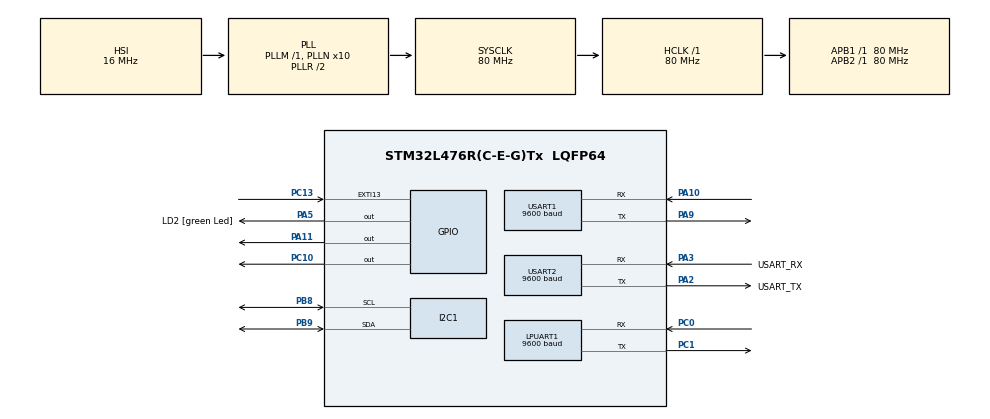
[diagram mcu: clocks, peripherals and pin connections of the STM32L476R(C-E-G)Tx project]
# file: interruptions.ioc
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I2C1.Timing=0x10D19CE4
LPTIM1.ClockPrescaler=LPTIM_PRESCALER_DIV32
LPUART1.BaudRate=9600
LPUART1.WordLength=UART_WORDLENGTH_8B
Mcu.Family=STM32L4
Mcu.Name=STM32L476R(C-E-G)Tx
Mcu.Package=LQFP64
NVIC.I2C1_ER_IRQn=true\:0\:0\:false\:false\:true\:true\:true\:true
NVIC.I2C1_EV_IRQn=true\:0\:0\:false\:false\:true\:true\:true\:true
NVIC.LPTIM1_IRQn=true\:0\:0\:false\:false\:true\:true\:true\:true
NVIC.LPUART1_IRQn=true\:0\:0\:false\:false\:true\:true\:true\:true
NVIC.PriorityGroup=NVIC_PRIORITYGROUP_4
NVIC.RTC_WKUP_IRQn=true\:0\:0\:false\:false\:true\:true\:true\:true
NVIC.USART1_IRQn=true\:0\:0\:false\:false\:true\:true\:true\:true
NVIC.USART2_IRQn=true\:0\:0\:false\:false\:true\:true\:true\:true
PA10.Mode=Asynchronous
PA10.Signal=USART1_RX
PA11.GPIO_PuPd=GPIO_NOPULL
PA11.PinState=GPIO_PIN_RESET
PA11.Signal=GPIO_Output
PA13\ (JTMS-SWDIO).GPIO_Label=TMS
PA13\ (JTMS-SWDIO).Mode=Serial_Wire
PA13\ (JTMS-SWDIO).Signal=SYS_JTMS-SWDIO
PA14\ (JTCK-SWCLK).GPIO_Label=TCK
PA14\ (JTCK-SWCLK).Mode=Serial_Wire
PA14\ (JTCK-SWCLK).Signal=SYS_JTCK-SWCLK
PA2.GPIO_Label=USART_TX
PA2.GPIO_Mode=GPIO_MODE_AF_PP
PA2.GPIO_PuPd=GPIO_NOPULL
PA2.GPIO_Speed=GPIO_SPEED_FREQ_VERY_HIGH
PA2.Mode=Asynchronous
PA2.Signal=USART2_TX
PA3.GPIO_Label=USART_RX
PA3.GPIO_Mode=GPIO_MODE_AF_PP
PA3.GPIO_PuPd=GPIO_NOPULL
PA3.GPIO_Speed=GPIO_SPEED_FREQ_VERY_HIGH
PA3.Mode=Asynchronous
PA3.Signal=USART2_RX
PA5.GPIO_Label=LD2 [green Led]
PA5.GPIO_ModeDefaultOutputPP=GPIO_MODE_OUTPUT_PP
PA5.GPIO_PuPd=GPIO_NOPULL
PA5.GPIO_Speed=GPIO_SPEED_FREQ_LOW
PA5.Signal=GPIO_Output
PA9.Mode=Asynchronous
PA9.Signal=USART1_TX
PB3\ (JTDO-TRACESWO).GPIO_Label=SWO
PB3\ (JTDO-TRACESWO).Signal=SYS_JTDO-SWO
PB8.GPIO_Pu=GPIO_PULLUP
PB8.Mode=I2C
PB8.Signal=I2C1_SCL
PB9.GPIO_Pu=GPIO_PULLUP
PB9.Mode=I2C
PB9.Signal=I2C1_SDA
PC0.Mode=Asynchronous
PC0.Signal=LPUART1_RX
PC1.Mode=Asynchronous
PC1.Signal=LPUART1_TX
PC10.PinState=GPIO_PIN_SET
PC10.Signal=GPIO_Output
PC13.Signal=GPXTI13
PC14-OSC32_IN\ (PC14).Mode=LSE-External-Oscillator
PC14-OSC32_IN\ (PC14).Signal=RCC_OSC32_IN
PC15-OSC32_OUT\ (PC15).Mode=LSE-External-Oscillator
PC15-OSC32_OUT\ (PC15).Signal=RCC_OSC32_OUT
PH0-OSC_IN\ (PH0).Signal=RCC_OSC_IN
PH1-OSC_OUT\ (PH1).Signal=RCC_OSC_OUT
ProjectManager.HeapSize=0x200
ProjectManager.StackSize=0x400
ProjectManager.TargetToolchain=CMake
RCC.ADCFreq_Value=64000000
RCC.AHBFreq_Value=80000000
RCC.APB1Freq_Value=80000000
RCC.APB1TimFreq_Value=80000000
RCC.APB2Freq_Value=80000000
RCC.APB2TimFreq_Value=80000000
RCC.CortexFreq_Value=80000000
RCC.HCLKFreq_Value=80000000
RCC.HSE_VALUE=8000000
RCC.HSI_VALUE=16000000
RCC.LPTIM1CLockSelection=RCC_LPTIM1CLKSOURCE_LSI
RCC.LPUART1CLockSelection=RCC_LPUART1CLKSOURCE_HSI
RCC.MSI_VALUE=4000000
RCC.PLLN=10
RCC.PLLSourceVirtual=RCC_PLLSOURCE_HSI
RCC.PREFETCH_ENABLE=1
RCC.RTCClockSelection=RCC_RTCCLKSOURCE_LSE
RCC.SYSCLKFreq_VALUE=80000000
RCC.SYSCLKSource=RCC_SYSCLKSOURCE_PLLCLK
RCC.USART2CLockSelection=RCC_USART2CLKSOURCE_HSI
RCC.USBFreq_Value=64000000
RCC.VCOOutputFreq_Value=160000000
RTC.WakeUpClock-WakeUp=RTC_WAKEUPCLOCK_CK_SPRE_16BITS
USART1.BaudRate=9600
USART1.VirtualMode-Asynchronous=VM_ASYNC
USART2.BaudRate=9600
USART2.VirtualMode-Asynchronous=VM_ASYNC
VP_LPTIM1_VS_LPTIM_counterModeInternalClock.Mode=Counts__internal_clock_event_00
VP_RTC_VS_RTC_Activate.Mode=RTC_Enabled
VP_RTC_VS_RTC_WakeUp_intern.Mode=WakeUp
board=NUCLEO-L476RG

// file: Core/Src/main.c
/* USER CODE BEGIN Header */
/**
  ******************************************************************************
  * @file           : main.c
  * @brief          : Main program body
  ******************************************************************************
  * @attention
  *
  * Copyright (c) 2026 STMicroelectronics.
  * All rights reserved.
  *
  * This software is licensed under terms that can be found in the LICENSE file
  * in the root directory of this software component.
  * If no LICENSE file comes with this software, it is provided AS-IS.
  *
  ******************************************************************************
  */
/* USER CODE END Header */
#include "main.h"

/* USER CODE BEGIN Includes */
#include <string.h>
#include <stdio.h>
#include <time.h>
/* USER CODE END Includes */

I2C_HandleTypeDef hi2c1;

LPTIM_HandleTypeDef hlptim1;

UART_HandleTypeDef hlpuart1;
UART_HandleTypeDef huart1;
UART_HandleTypeDef huart2;

RTC_HandleTypeDef hrtc;

void SystemClock_Config(void);
static void MX_GPIO_Init(void);
static void MX_USART2_UART_Init(void);
static void MX_USART1_UART_Init(void);
static void MX_LPUART1_UART_Init(void);
static void MX_LPTIM1_Init(void);
static void MX_I2C1_Init(void);
static void MX_RTC_Init(void);

/* USER CODE BEGIN 0 */
void log_step(char *msg)
{
    HAL_UART_Transmit(&huart2, (uint8_t*)msg, strlen(msg), 100);
    HAL_UART_Transmit(&huart2, (uint8_t*)"\r\n", 2, 100);
}

// clear all useless variables
#define WAKEUP_TIME_SECONDS  (2U * 60U)
volatile uint32_t tick = 0;
uint32_t rtt_min = UINT32_MAX, rtt_max = 0, rtt_sum = 0;
volatile uint32_t rtt;
int err_bits =0; // may be usefull for redunduncy (ex : activate hamming code if nb of err bits is 1 or 2)
volatile uint8_t can_sleep = 1;
char ack[] = "ACK\r\n";

uint8_t rx_pc[64];     // PC -> STM32
uint8_t rx_radio[12];   // HC-12 -> STM32
uint8_t pairing[1];    //  STM32 -> HC-12 (TX uniquement)
uint8_t frame[12];      // STM32 -> HC-12 (TX uniquement)
  char AT_phrase[] = "AT+P1";
char log_rtt[] = "ACK RECEIVED AND RTT =     \n";
volatile uint8_t woken_by_timer = 0;
volatile int wakeup_time = 0;
volatile uint32_t cnt = 0;
int32_t press_raw;
int32_t temp_raw;
typedef struct {
    uint16_t dig_T1;
    int16_t  dig_T2, dig_T3;
    uint16_t dig_P1;
    int16_t  dig_P2, dig_P3, dig_P4, dig_P5, dig_P6, dig_P7, dig_P8, dig_P9;
} BMP280_Calib;

BMP280_Calib calib;
int32_t t_fine;

uint8_t calib_buf[24];
volatile int gradient =0;
volatile uint8_t sequence = 0b000001;
volatile uint32_t count = 0;
int nb_bits_corr =0;
int nb_reveils = 0;
int nb_ack = 0;
int nb_retransmissions = 0;
int nb_transmissions =0;
int number_of_msg =0;
int pairing_mode =1;
int ack_flag = 0;
int energy = 0;
int neighbour_energy = 0;
const float power_level[] = {0.05,
                   0.057,
                   0.067,
                   0.08,
                   0.11,
                   0.15,
                   0.18,
                   0.33
                    };
int curr_power = 0;
const int THRESHOLD_50 = 12000;
const int THRESHOLD_75 = 24057;
const int THRESHOLD_90 = 32000;
 // below is receiver parity bits
      uint8_t pr1 ;
      uint8_t pr2 ;
      uint8_t pr4 ;
      uint8_t pr8 ;
      uint8_t curr_frame;
      uint8_t syndrome;
      uint8_t decoded_frame[6];
      volatile uint8_t result[6];

////// utiliser __builtin_popcount lorsque l'on voudra tester des envois prédéfinis

// DONT FORGET TO CHANGE THISDONT FORGET TO CHANGE THISDONT FORGET TO CHANGE THISDONT FORGET TO CHANGE THISDONT FORGET TO CHANGE THISDONT FORGET TO CHANGE THISDONT FORGET TO CHANGE THISDONT FORGET TO CHANGE THIS
const uint8_t node_addr = 0X02; // change accordingly to the address number of your node : DONT FORGET TO CHANGE THIS (server = 00)

// DONT FORGET TO CHANGE THISDONT FORGET TO CHANGE THISDONT FORGET TO CHANGE THISDONT FORGET TO CHANGE THISDONT FORGET TO CHANGE THISDONT FORGET TO CHANGE THISDONT FORGET TO CHANGE THISDONT FORGET TO CHANGE THIS

//DONT FORGET TO CHANGE THISDONT FORGET TO CHANGE THISDONT FORGET TO CHANGE THISDONT FORGET TO CHANGE THISDONT FORGET TO CHANGE THISDONT FORGET TO CHANGE THISDONT FORGET TO CHANGE THISDONT FORGET TO CHANGE THIS
const uint8_t dst_addr = 0X00; // change accordingly to the address number of the node to be reached : DONT FORGET TO CHANGE THIS (server = 00)
//DONT FORGET TO CHANGE THISDONT FORGET TO CHANGE THISDONT FORGET TO CHANGE THISDONT FORGET TO CHANGE THISDONT FORGET TO CHANGE THISDONT FORGET TO CHANGE THISDONT FORGET TO CHANGE THISDONT FORGET TO CHANGE THIS

// Retourne la température en centièmes de °C. Ex: 5123 = 51.23 °C
int32_t bmp280_compensate_T_int32(int32_t adc_T)
{
    int32_t var1, var2, T;

    var1 = ((((adc_T >> 3) - ((int32_t)calib.dig_T1 << 1))) * ((int32_t)calib.dig_T2)) >> 11;

    var2 = (((((adc_T >> 4) - ((int32_t)calib.dig_T1)) *
              ((adc_T >> 4) - ((int32_t)calib.dig_T1))) >> 12) *
            ((int32_t)calib.dig_T3)) >> 14;

    t_fine = var1 + var2;
    T = (t_fine * 5 + 128) >> 8;

    return T;
}

// Retourne la pression en Pa (entier non signé). Ex: 96386 = 963.86 hPa
// IMPORTANT : doit être appelée APRÈS bmp280_compensate_T_int32 (dépend de t_fine)

uint32_t bmp280_compensate_P_int32(int32_t adc_P)
{
    int32_t var1, var2;
    uint32_t p;

    var1 = (((int32_t)t_fine) >> 1) - (int32_t)64000;

    var2 = (((var1 >> 2) * (var1 >> 2)) >> 11) * ((int32_t)calib.dig_P6);
    var2 = var2 + ((var1 * ((int32_t)calib.dig_P5)) << 1);
    var2 = (var2 >> 2) + (((int32_t)calib.dig_P4) << 16);

    var1 = (((calib.dig_P3 * (((var1 >> 2) * (var1 >> 2)) >> 13)) >> 3) +
            ((((int32_t)calib.dig_P2) * var1) >> 1)) >> 18;
    var1 = (((32768 + var1)) * ((int32_t)calib.dig_P1)) >> 15;

    if (var1 == 0)
    {
        return 0; // évite une division par zéro
    }

    p = (((uint32_t)(((int32_t)1048576) - adc_P) - (var2 >> 12))) * 3125;

    if (p < 0x80000000)
    {
        p = (p << 1) / ((uint32_t)var1);
    }
    else
    {
        p = (p / (uint32_t)var1) * 2;
    }

    var1 = (((int32_t)calib.dig_P9) * ((int32_t)(((p >> 3) * (p >> 3)) >> 13))) >> 12;
    var2 = (((int32_t)(p >> 2)) * ((int32_t)calib.dig_P8)) >> 13;

    p = (uint32_t)((int32_t)p + ((var1 + var2 + calib.dig_P7) >> 4));

    return p;
}

uint8_t  decoded_hamming( uint8_t tab1, uint8_t tab2){

    return ((tab1 >> 2) & 1 ) | ((tab1 >> 4) & 1) << 1 | ((tab1 >> 5) & 1) << 2  | ((tab1 >> 6) & 1) << 3  | ((tab2 >> 2) & 1 ) << 4 | ((tab2 >> 4) & 1 )<< 5 | ((tab2 >> 5) & 1 ) << 6 | ((tab2 >> 6) & 1 ) << 7;

}
/// @brief ////////////////////
/// @param huart
/// @param Size
void HAL_UARTEx_RxEventCallback(UART_HandleTypeDef *huart, uint16_t Size){
           //int goodput_time = HAL_GetTick();
                        //count = HAL_LPTIM_ReadCounter(&hlptim1);

         uint32_t start = DWT->CYCCNT;

         //goodput_time = HAL_GetTick() - goodput_time;
        //uint32_t start = DWT->CYCCNT;

          if (huart->Instance == LPUART1)
    {
        wakeup_time = HAL_GetTick();

       //log_step("MSG RECEIVED :\n");
       // writing every byte in hexa
        for(int i=0;i<sizeof(rx_radio);i++){
            char buf[10];
            sprintf(buf, "%02X ", rx_radio[i]);
            //HAL_UART_Transmit(&huart2, (uint8_t*)buf, strlen(buf), 100);

        }
            // à partir d'ici, décoder le message et corriger les erreurs de transmission
            if(Size== 12){
              //log_step("Et après Correction des erreurs :\n");
               for(int i=0;i<sizeof(rx_radio);i++){
                curr_frame = rx_radio[i];

                pr1 = (curr_frame & 1) ^ ((curr_frame >> 2) & 1) ^ ((curr_frame >> 4) & 1) ^ ((curr_frame >> 6) & 1); // p1,d1,d2,d4
                pr2 = ((curr_frame >> 1) & 1) ^ ((curr_frame >> 2) & 1) ^ ((curr_frame >> 5) & 1) ^ ((curr_frame >> 6) & 1); // p2,d1,d3,d4
                pr4 = ((curr_frame >> 3) & 1) ^ ((curr_frame >> 4) & 1) ^ ((curr_frame >> 5) & 1) ^ ((curr_frame >> 6) & 1); // p4,d2,d3,d4
                //pr8 = pr1 ^ pr2 ^ (curr_frame & 1)  ; // p1 ^ p2 ^ d1 ^  ((p4 ^ d2 ^ d3 ^ d4) =0)
                pr8 = 0;
                for (int b = 0; b < 8; b++) pr8 ^= (curr_frame >> b) & 1;
                syndrome = pr1 | pr2 << 1 | pr4 << 2 ;
                if( syndrome != 0 && pr8 == 1){ // one error only
                  curr_frame ^= (1 << (syndrome-1)); // inversion du bit erroné
                  rx_radio[i] = curr_frame;
                  nb_bits_corr++;
                  char log[64];
                  sprintf(log," Erreurs détectées jusqu'à maintenant %d" ,nb_bits_corr);
                  //log_step(log);
                }
                else if(pr8 == 0 && syndrome != 0 ){ // at least 2 errors so we request a resend/ do nothing until we receive a good msg
                     //log_step("error, we should not forward the data received\n");
                     can_sleep =1;
                }

                // else if (syndrome == 0 && pr8 == 1)  error on pr8 so we don't care

                                //decoded_frame[i%6] = (i<6)? decoded_hamming(rx_radio[2*i],rx_radio[2*i+1]) : decoded_frame[i%6];
                                decoded_frame[i%6] = (i>=6)? decoded_hamming(rx_radio[2*(i-6)],rx_radio[2*(i-6)+1]) : decoded_frame[i%6];

               }
              for(int i=0;i<sizeof(decoded_frame);i++){
                  char buf[10];
                  sprintf(buf, "%02X ", decoded_frame[i]);
                  //HAL_UART_Transmit(&huart2, (uint8_t*)buf, strlen(buf), 100);

              }

            }

        if (strncmp((char*)rx_radio, "AT", 2) == 0 ||
            strncmp((char*)rx_radio, "OK", 2) == 0) {
            memset(rx_radio, 0, sizeof(rx_radio));
            HAL_UARTEx_ReceiveToIdle_IT(huart, rx_radio, sizeof(rx_radio));
                    can_sleep =1;
            return;  // on ignore et on réarme
        }

       if((strncmp((char*)rx_radio, "ACK", 3) == 0) || (strncmp((char*)decoded_frame, "ACK", 3) == 0)  ){
         rtt = HAL_GetTick() - rtt ;
           AT_phrase[4] ='1';
           ack_flag =1;
           log_step("ACK RECEIVED \n");

           sprintf(log_rtt, "%lu", rtt);
           log_step(log_rtt);
           can_sleep =1;
           //increase the number of ack obtained etc
        }
        else if (decoded_frame[1] == node_addr) // changer la condition car c'est surout tout les noeuds qui sont capables de forward qui devront le faire
        {

        log_step("  ... SENDING ACK \n");

         // FIX HERE THE FRAME  FIX HERE THE FRAME FIX HERE THE FRAME FIX HERE THE FRAME FIX HERE THE FRAME FIX HERE THE FRAME FIX HERE THE FRAME FIX HERE THE FRAME FIX HERE THE FRAME
         nb_ack++;
        char ack_cpt[64];
        sprintf(ack_cpt, "Nombre d'ack envoyés = %d ", nb_ack);
        HAL_UART_Transmit(huart, (uint8_t*)ack, strlen(ack), 100); // bloquant // no need for hamming code since the message is received, an ack is ok by experience
        can_sleep =1;
         // FIX HERE THE FRAME  FIX HERE THE FRAME FIX HERE THE FRAME FIX HERE THE FRAME FIX HERE THE FRAME FIX HERE THE FRAME FIX HERE THE FRAME FIX HERE THE FRAME FIX HERE THE FRAME
        tick = HAL_GetTick();
        }

        else if (decoded_frame[1] != node_addr ){
          //log_step("WRONG ADRESS BACK TO SLEEP\n");
          if(decoded_frame[5] > gradient) { //  > NOT ==
                        //log_step("WE FORWARD THE MESSAGE AND SEND AN ACK \n");
                         //HAL_UART_Transmit_IT(huart, rx_radio , Size);
                         //HAL_UART_Transmit(huart, (uint8_t*)ack, strlen(ack), 100);
                        uint32_t total = DWT->CYCCNT - start ;
                        uint32_t us = total / (SystemCoreClock / 1000000);
                        char trip_time[64];
                        sprintf(trip_time,"Ticks counted for forwarding = %ld us \n",us);
                        log_step(trip_time);
                        HAL_UART_Transmit(huart, rx_radio, Size, 100);

                         log_step("MSG FORWARDED");
          }
          can_sleep =1;
        }

         if (Size == 4 && pairing_mode){ // 1st gradient modif and we received a 1 length word so only pairing mode can do this, process data accordingly
          log_step("GRADIENT ATTRIBUTED... FORWARDING NEIGHBOURS");
          //gradient = pairing[0]++;
          rx_radio[0] = (rx_radio[0]+1);
          gradient = rx_radio[0] & 0x0F;
          can_sleep =1;
          pairing_mode = 0;
          //uint8_t g = (uint8_t)gradient;
          HAL_UART_Transmit(&hlpuart1, rx_radio, 4,100);

        }
        // HC-12 input
        //can_sleep =0;
        memset(decoded_frame,0,sizeof(decoded_frame));
        memset(rx_radio,0,sizeof(rx_radio));
        /*
        uint32_t cycles = DWT->CYCCNT - start;
        uint32_t us = cycles / (SystemCoreClock / 1000000);
        char trip_time[64];
         sprintf(trip_time,"Ticks counted for reception = %ld \n",us);
         log_step(trip_time);
         */
        HAL_UARTEx_ReceiveToIdle_IT(huart, rx_radio, sizeof(rx_radio));
      }
}

// transform a frame byte into 2Bytes each with 4data bits and 4 parity bits accordingly to hamming code logic
uint16_t Hamming_code(const uint8_t trame){
      // we construct each new "hamming " byte by halving the frame bytes (8,4) => 4data , 4parity
      uint16_t res;
      uint8_t d1 = (trame) & 1; // (x >> i) & 1 type
      uint8_t d2 = (trame >> 1) & 1;
      uint8_t d3 = (trame >> 2) & 1;
      uint8_t d4 = (trame >> 3) & 1;
      uint8_t d5 = (trame >> 4) & 1; // for the other byte
      uint8_t d6 = (trame >> 5) & 1;
      uint8_t d7 = (trame >> 6) & 1;
      uint8_t d8 = (trame >> 7) & 1;

      uint8_t p1 = d1  ^ d2 ^  d4 ;
      uint8_t p2 =  d1  ^ d3 ^  d4 ;
      uint8_t p4 = d2  ^ d3 ^  d4 ;
      uint8_t p8 = p1 ^ p2 ^ d1 ^ p4 ^ d2 ^ d3 ^ d4;

      uint8_t p9 = d5  ^ d6 ^  d8 ;
      uint8_t p10 =  d5  ^ d7 ^  d8 ;
      uint8_t p12 = d6  ^ d7 ^  d8 ;
      uint8_t p16 = p9 ^ p10 ^ d5 ^ p12 ^ d6 ^ d7 ^ d8 ;

      res = (p1 << 0)  |
            (p2 << 1)  |
            (d1 << 2)  |
            (p4 << 3)  |
            (d2 << 4)  |
            (d3 << 5)  |
            (d4 << 6)  |
            (p8 << 7)  |
            (p9 << 8)  |
            (p10 << 9) |
            (d5 << 10) |
            (p12 << 11)|
            (d6 << 12) |
            (d7 << 13) |
            (d8 << 14) |
            (p16 << 15);
      return res;
}
void Send_Sensor_Data(){
    //can_sleep = 0;

    // aquire temperature and pressure

          uint8_t data[6];
          HAL_I2C_Mem_Read(&hi2c1, (0x76<<1), 0xF7, I2C_MEMADD_SIZE_8BIT, data, 6, 100);

          int32_t press_raw = (data[0]<<12) | (data[1]<<4) | (data[2]>>4);
          int32_t temp_raw  = (data[3]<<12) | (data[4]<<4) | (data[5]>>4);

          int32_t T = bmp280_compensate_T_int32(temp_raw);   // met à jour t_fine
          uint32_t P = bmp280_compensate_P_int32(press_raw); // utilise t_fine

        uint16_t frame_part_1 = Hamming_code(node_addr);
        uint16_t frame_part_2 = Hamming_code(dst_addr);
        uint16_t frame_part_3 = Hamming_code((0b01) << 6 |  (sequence));// TYPE of data to be sent (2bits) and SEQUENCE/ index relative to the transfer
        sequence = ((sequence+1)  % 64 ); // problème : dès qu'on dépasse 63 transfert ce qui est quasi certain on reboucle et on perds l'info sur la durabilité du capteur ? sauf si ceux qui ont l'info la conserve
        uint16_t frame_part_4 = Hamming_code(( T >> 8 ) & 0xff); // data temperature  MSB
        uint16_t frame_part_5 = Hamming_code( T & 0xff);// data temperature  LSB
        uint16_t frame_part_6 = Hamming_code(gradient);

         // send data frame
          frame[0] = frame_part_1;
          frame[1] = frame_part_1 >> 8;
          frame[2] = frame_part_2;
          frame[3] = frame_part_2 >> 8;
          frame[4] = frame_part_3;
          frame[5] = frame_part_3 >> 8;
          frame[6] = frame_part_4 ;
          frame[7] = frame_part_4 >> 8;
          frame[8] = frame_part_5;
          frame[9] = frame_part_5 >> 8;
          frame[10] = frame_part_6;
          frame[11] = frame_part_6 >> 8;
         // info : 2 complement so to read properly you need to reassemble the int-16 signed
         // incrémenter un compteur de nombre de transfert et envoyer cette information pour estimer l'autonomie restante => ça correspond au transfert
         rtt = HAL_GetTick() ;
        //count = HAL_LPTIM_ReadCounter(&hlptim1);
        uint32_t start = DWT->CYCCNT;

        char goodput[64];
         //HAL_UART_Transmit_IT(&hlpuart1, frame, 6);
         HAL_UART_Transmit(&hlpuart1, frame, 12, 20);

        uint32_t cycles = DWT->CYCCNT - start;
        uint32_t us = cycles / (SystemCoreClock / 1000000);

         sprintf(goodput,"MSG SENT and Tick = %ld \n temperature calculated is = ",us);
         log_step(goodput);
            char msg[64];
          for(int i=0;i<sizeof(frame);i++){
                  char buf[10];
                  sprintf(buf, "%02X ", frame[i]);
                  HAL_UART_Transmit(&huart2, (uint8_t*)buf, strlen(buf), 100);

              }
            // en commentaire : tests de la conversion de temperature en hexa
                  //char buf[10];

                  //sprintf(buf, "%04lX ", (unsigned long)T);
                  //HAL_UART_Transmit(&huart2, (uint8_t*)buf, strlen(buf), 100);
sprintf(msg, "T=%ld.%02ld°C\r\n",
        T/100, T%100);
HAL_UART_Transmit(&huart2, (uint8_t*)msg, strlen(msg), 100);
        cnt = 0;

}

// estime l'énergie consommée à l'instant T par le capteur et ses plus proches voisins
// détermine la puissance d'envoi des prochains messages
// détermine (peut etre jsp encore) le baudrate adapté
// prend en compte le nombre d'ack reçu et choisi le destinataire avec le lien le plus fort ?
// dtermine si c'est mieux de reach le voisin d'après pour faire moins de saut quitte à utiliser plus de puissance ?
// on suppose batterie de 3k mah à 3.3V
void Survey_Prog_Conso(){

    // energy += nb_transmissions(normales) * energie_dunetransmission_actuelle
      energy += nb_transmissions * (0.0125 * power_level[curr_power]);

    // si les noeuds voisins sont > dune certaine valeur alors on augmente la puissance et gradient+1
        if( neighbour_energy > THRESHOLD_50){
          // up power
          gradient++;
        }
    // si on est au dessus d'une certaine valeur alors on diminue notre gradient de 1 si il est >1
        if( energy > THRESHOLD_90){
          gradient = (gradient > 1)? gradient-1 : gradient;
          // chercher d'autres moyens d'économiser la consommation
        }
    // si on ne reçoit plus d'ack et qu'on est au dessus d'une certaine valeur alors on augmente le gradient de 1 et la puissance d'emission de 1
        if( energy > THRESHOLD_75){
          gradient++;
          curr_power++;
          // chercher d'autres moyens d'économiser la consommation
        }
}

void HAL_UART_TxCpltCallback(UART_HandleTypeDef *huart){

    tick = HAL_GetTick();
}

void HAL_LPTIM_CompareMatchCallback(LPTIM_HandleTypeDef *hlptim) //obselete
{
  // Do whatever you want
  woken_by_timer = 1;
  nb_reveils++;
}
void HAL_RTCEx_WakeUpTimerEventCallback(RTC_HandleTypeDef *hrtc)
{
    // Le STM32 est réveillé après expiration du timer RTC
      woken_by_timer = 1;
      /*
      nb_reveils++;
      char reveil[64];
      sprintf(reveil,"nombre de réveils = %d",nb_reveils);
      log_step(reveil);
      */

}
/* USER CODE END 0 */

int main(void)
{

  /* MCU Configuration--------------------------------------------------------*/

  /* Reset of all peripherals, Initializes the Flash interface and the Systick. */
  HAL_Init();

  /* Configure the system clock */
  SystemClock_Config();

  /* USER CODE BEGIN SysInit */
      RCC_PeriphCLKInitTypeDef PeriphClkInit = {0};
    PeriphClkInit.PeriphClockSelection = RCC_PERIPHCLK_USART1 | RCC_PERIPHCLK_USART2;
    PeriphClkInit.Usart1ClockSelection = RCC_USART1CLKSOURCE_HSI;
    PeriphClkInit.Usart2ClockSelection = RCC_USART2CLKSOURCE_HSI;
    if (HAL_RCCEx_PeriphCLKConfig(&PeriphClkInit) != HAL_OK)
    {
      Error_Handler();
    }

    CoreDebug->DEMCR |= CoreDebug_DEMCR_TRCENA_Msk;
DWT->CYCCNT = 0;
DWT->CTRL |= DWT_CTRL_CYCCNTENA_Msk;
  /* USER CODE END SysInit */

  /* Initialize all configured peripherals */
  MX_GPIO_Init();
  MX_USART2_UART_Init();
  MX_USART1_UART_Init();
  MX_LPUART1_UART_Init();
  MX_LPTIM1_Init();
  MX_I2C1_Init();
  MX_RTC_Init();
  /* USER CODE BEGIN 2 */

  UART_WakeUpTypeDef wakeup;
  wakeup.WakeUpEvent = UART_WAKEUP_ON_STARTBIT;
  HAL_LPTIM_Counter_Start(&hlptim1, 0xFFFF);

  HAL_UARTEx_StopModeWakeUpSourceConfig(&hlpuart1, wakeup);
  HAL_UARTEx_StopModeWakeUpSourceConfig(&huart2, wakeup);
  while (__HAL_UART_GET_FLAG(&hlpuart1, USART_ISR_BUSY) == SET);
  while (__HAL_UART_GET_FLAG(&hlpuart1, USART_ISR_REACK) == RESET);
  while (__HAL_UART_GET_FLAG(&huart2, USART_ISR_BUSY) == SET);
  while (__HAL_UART_GET_FLAG(&huart2, USART_ISR_REACK) == RESET);
  HAL_UARTEx_EnableStopMode(&hlpuart1);
  HAL_UARTEx_EnableStopMode(&huart2);
  __HAL_UART_ENABLE_IT(&hlpuart1, UART_IT_WUF);
  __HAL_UART_ENABLE_IT(&huart2, UART_IT_WUF);

HAL_I2C_Mem_Read(&hi2c1, (0x76<<1), 0x88, I2C_MEMADD_SIZE_8BIT, calib_buf, 24, 100);

calib.dig_T1 = (uint16_t)(calib_buf[1]<<8 | calib_buf[0]);
calib.dig_T2 = (int16_t) (calib_buf[3]<<8 | calib_buf[2]);
calib.dig_T3 = (int16_t) (calib_buf[5]<<8 | calib_buf[4]);
calib.dig_P1 = (uint16_t)(calib_buf[7]<<8 | calib_buf[6]);
calib.dig_P2 = (int16_t) (calib_buf[9]<<8 | calib_buf[8]);
calib.dig_P3 = (int16_t) (calib_buf[11]<<8 | calib_buf[10]);
calib.dig_P4 = (int16_t) (calib_buf[13]<<8 | calib_buf[12]);
calib.dig_P5 = (int16_t) (calib_buf[15]<<8 | calib_buf[14]);
calib.dig_P6 = (int16_t) (calib_buf[17]<<8 | calib_buf[16]);
calib.dig_P7 = (int16_t) (calib_buf[19]<<8 | calib_buf[18]);
calib.dig_P8 = (int16_t) (calib_buf[21]<<8 | calib_buf[20]);
calib.dig_P9 = (int16_t) (calib_buf[23]<<8 | calib_buf[22]);

uint8_t ctrl_meas = (0b001 << 5) | (0b001 << 2) | 0b01; // osrs_t=x1, osrs_p=x1, forced mode
HAL_I2C_Mem_Write(&hi2c1, (0x76<<1), 0xF4, I2C_MEMADD_SIZE_8BIT, &ctrl_meas, 1, 100);

  log_step("SYSTEM START");
  log_step("WAITING FOR GRADIENT ATTRIBUTION");
  HAL_UART_Receive_IT(&huart2, rx_pc, 1);
  HAL_UARTEx_ReceiveToIdle_IT(&hlpuart1, rx_radio, sizeof(rx_radio));
  HAL_UARTEx_ReceiveToIdle_IT(&hlpuart1, pairing, sizeof(pairing));
  HAL_GPIO_WritePin(GPIOC, GPIO_PIN_10, GPIO_PIN_SET);
  HAL_GPIO_WritePin(GPIOA, GPIO_PIN_11, GPIO_PIN_SET);
  tick = HAL_GetTick();
  //HAL_LPTIM_TimeOut_Start_IT(&hlptim1, 5240, 5240-cnt);
    // rq code for mtoher node (transmit the gradient msg = FFFFFF?)
  /*
  uint8_t grad[4];
  for(int x =0;x<4;x++)grad[x] = 0xF0;
  HAL_UART_Transmit(&hlpuart1, grad,4,100);

  */
/*
  //////// remise à 1 de la puissance /////////////////////////////////
        uint16_t lenResp_temp = 0;
      uint8_t rxResp_temp[64];
   HAL_UART_Abort(&hlpuart1);   // stoppe la réception IT en cours, remet l'état à READY

          HAL_GPIO_WritePin(GPIOA, GPIO_PIN_11, GPIO_PIN_RESET);  // toggle the set pin to low so we can change the power

          HAL_Delay(100); // delay to shorten

          HAL_UART_Transmit(&hlpuart1, (uint8_t*)(AT_phrase), strlen(AT_phrase),100);
          //char text2[50];
          //snprintf(text2, sizeof(text2), " %d", HAL_UARTEx_ReceiveToIdle(&hlpuart1, rxResp_temp, sizeof(rxResp_temp), &lenResp_temp, 500));
          //log_step(text2);
          if (HAL_UARTEx_ReceiveToIdle(&hlpuart1, rxResp_temp, sizeof(rxResp_temp), &lenResp_temp, 500) == HAL_OK && lenResp_temp > 0){};

          HAL_GPIO_WritePin(GPIOA, GPIO_PIN_11, GPIO_PIN_SET);   // toggle the set pin to high so we can work again
          HAL_Delay(100); // delay to shorten
          HAL_UART_Transmit(&huart1, frame,  12,300); // ok ?
  ///////// code pas encore vérfié  //////////////////////////////
  */
  HAL_Delay(50); // before was 50k
  log_step("END OF GRADIENT ATTRIBUTION PHASE");
  woken_by_timer = 0; // maybe a bad idea to do this
  pairing[0] = 0;
HAL_RTCEx_SetWakeUpTimer_IT(&hrtc, 5 , RTC_WAKEUPCLOCK_CK_SPRE_16BITS);

//  rajouetr une condition pour arreter la transmission après X envois

  /* USER CODE END 2 */

  /* Infinite loop */
  while (1)
  {

    /* USER CODE BEGIN 3 */

    // noeud serveur : envoi uniquement une seule fois à ses voisins son adresse 00

    if(can_sleep ){ // no activity for X ms
          log_step("ENTERING SLEEP MODE \n");
          // entering stop section
          //HAL_LPTIM_TimeOut_Stop_IT(&hlptim1);
          //HAL_LPTIM_TimeOut_Start_IT(&hlptim1, 5240, 5240-cnt);

          //uint32_t cnt = hlptim1.Instance->CNT;
          HAL_SuspendTick();

          if(woken_by_timer)HAL_RTCEx_SetWakeUpTimer_IT(&hrtc, 5 , RTC_WAKEUPCLOCK_CK_SPRE_16BITS); // WAKEUP_TIME_SECONDS before was 20 and for test : 60
          // WAKEUP_TIME_SECONDS
          HAL_PWREx_EnterSTOP2Mode(PWR_SLEEPENTRY_WFI);
          SystemClock_Config();

          HAL_ResumeTick();
          HAL_Delay(50);
          //can_sleep = 0;
          tick = HAL_GetTick();

    }

    // X seconds elapsed so we take the sensor data and send it asap ( copy usart2 in a function )
    /*
      if( HAL_GetTick() - tick > 1000  && !can_sleep){ // if nothing is received in 100ticks in this mode then resend . This does not conflict if an ack is received because the can_sleep flag would be on before 100ticks
          if(AT_phrase[4] != '8') {

          AT_phrase[4] = ((AT_phrase[4] - '1' + 1 ) % 8 )  + '1';
          char text[50];
          snprintf(text, sizeof(text), "POWER UP THE TX %c\n", AT_phrase[4]);

          log_step(text);

          HAL_GPIO_WritePin(GPIOC, GPIO_PIN_10, GPIO_PIN_RESET);  // toggle the set pin to low so we can change the power
          HAL_Delay(100); // delay to shorten
          HAL_UART_Transmit_IT(&huart1, (uint8_t*)(AT_phrase), strlen(AT_phrase));
          HAL_GPIO_WritePin(GPIOC, GPIO_PIN_10, GPIO_PIN_SET);   // toggle the set pin to high so we can work again
          HAL_Delay(100); // delay to shorten
          HAL_UART_Transmit_IT(&huart1, frame,  3); // ok ?
          }
          else{
          HAL_UART_Transmit_IT(&huart1, frame , 3);
          }
          tick = HAL_GetTick();

        }*/
    if(woken_by_timer ){
      ack_flag =0;
      nb_transmissions++;
    Send_Sensor_Data();
            tick = HAL_GetTick();
            uint8_t ctrl_meas = (0b001 << 5) | (0b001 << 2) | 0b01; // osrs_t=x1, osrs_p=x1, forced mode
        HAL_I2C_Mem_Write(&hi2c1, (0x76<<1), 0xF4, I2C_MEMADD_SIZE_8BIT, &ctrl_meas, 1, 100);
      woken_by_timer =0;
      number_of_msg++;
            char reveil[64];
      sprintf(reveil,"nombre de msg envoyés = %d",number_of_msg);
      log_step(reveil);
      HAL_Delay(200);

    }
    /*
    while( HAL_GetTick() - tick > 1000  ||  !ack_flag){ // if nothing is received in 100ticks in this mode then resend . This does not conflict if an ack is received because the can_sleep flag would be on before 100ticks
      uint16_t lenResp_temp = 0;
      uint8_t rxResp_temp[64];
      memset(rxResp_temp, 0, sizeof(rxResp_temp));
      if(AT_phrase[4] != '8') {

          AT_phrase[4] = ((AT_phrase[4] - '1' + 1 ) % 8 )  + '1';
          char text[50];
          snprintf(text, sizeof(text), "POWER UP THE TX %c\n", AT_phrase[4]);

          log_step(text);

          HAL_UART_Abort(&hlpuart1);   // stoppe la réception IT en cours, remet l'état à READY

          HAL_GPIO_WritePin(GPIOA, GPIO_PIN_11, GPIO_PIN_RESET);  // toggle the set pin to low so we can change the power

          HAL_Delay(100); // delay to shorten

          HAL_UART_Transmit(&hlpuart1, (uint8_t*)(AT_phrase), strlen(AT_phrase),100);
          //char text2[50];
          //snprintf(text2, sizeof(text2), " %d", HAL_UARTEx_ReceiveToIdle(&hlpuart1, rxResp_temp, sizeof(rxResp_temp), &lenResp_temp, 500));
          //log_step(text2);
          if (HAL_UARTEx_ReceiveToIdle(&hlpuart1, rxResp_temp, sizeof(rxResp_temp), &lenResp_temp, 500) == HAL_OK && lenResp_temp > 0){};

          HAL_GPIO_WritePin(GPIOA, GPIO_PIN_11, GPIO_PIN_SET);   // toggle the set pin to high so we can work again
          HAL_Delay(100); // delay to shorten
          HAL_UART_Transmit(&huart1, frame,  12,300); // ok ?
          energy += 0.0125*power_level[((AT_phrase[4] - '1' + 1 ) % 8 )  - 1];
          curr_power = ((AT_phrase[4] - '1' + 1 ) % 8 )  - 1 ;
          }
          else{
          HAL_UART_Transmit(&huart1, frame , 12,300);
          energy += 0.0125*power_level[7];
          curr_power = 7;
          }
          memset(rx_radio, 0, sizeof(rx_radio));
          HAL_UARTEx_ReceiveToIdle_IT(&hlpuart1, rx_radio, sizeof(rx_radio));
          tick = HAL_GetTick();
          HAL_Delay(500);

        }

    if(nb_transmissions == 10){
                  log_step("FIN DES TESTS  \n");
                  HAL_RTCEx_DeactivateWakeUpTimer(&hrtc);

                  // afficher les résultats des tests => nombre d'ack reçus, nombre envoyé, messages envoyés, messages reçus etc ....
                  char res_buf[128];
                  sprintf(res_buf, "nombre de bits corrigés :  %d \n nombre d'ACK reçus : %d \n  nombre de réveils : %d \n nombre de msg envoyés :  %d \n ",nb_bits_corr, nb_ack , nb_reveils , number_of_msg);
                  log_step(res_buf);
                  HAL_Delay(50000);

    }
                  */
  }
  /* USER CODE END 3 */
}

void SystemClock_Config(void)
{
  RCC_OscInitTypeDef RCC_OscInitStruct = {0};
  RCC_ClkInitTypeDef RCC_ClkInitStruct = {0};

  /** Configure the main internal regulator output voltage
  */
  if (HAL_PWREx_ControlVoltageScaling(PWR_REGULATOR_VOLTAGE_SCALE1) != HAL_OK)
  {
    Error_Handler();
  }

  /** Configure LSE Drive Capability
  */
  HAL_PWR_EnableBkUpAccess();
  __HAL_RCC_LSEDRIVE_CONFIG(RCC_LSEDRIVE_LOW);

  /** Initializes the RCC Oscillators according to the specified parameters
  * in the RCC_OscInitTypeDef structure.
  */
  RCC_OscInitStruct.OscillatorType = RCC_OSCILLATORTYPE_HSI|RCC_OSCILLATORTYPE_LSI
                              |RCC_OSCILLATORTYPE_LSE;
  RCC_OscInitStruct.LSEState = RCC_LSE_ON;
  RCC_OscInitStruct.HSIState = RCC_HSI_ON;
  RCC_OscInitStruct.HSICalibrationValue = RCC_HSICALIBRATION_DEFAULT;
  RCC_OscInitStruct.LSIState = RCC_LSI_ON;
  RCC_OscInitStruct.PLL.PLLState = RCC_PLL_ON;
  RCC_OscInitStruct.PLL.PLLSource = RCC_PLLSOURCE_HSI;
  RCC_OscInitStruct.PLL.PLLM = 1;
  RCC_OscInitStruct.PLL.PLLN = 10;
  RCC_OscInitStruct.PLL.PLLP = RCC_PLLP_DIV7;
  RCC_OscInitStruct.PLL.PLLQ = RCC_PLLQ_DIV2;
  RCC_OscInitStruct.PLL.PLLR = RCC_PLLR_DIV2;
  if (HAL_RCC_OscConfig(&RCC_OscInitStruct) != HAL_OK)
  {
    Error_Handler();
  }

  /** Initializes the CPU, AHB and APB buses clocks
  */
  RCC_ClkInitStruct.ClockType = RCC_CLOCKTYPE_HCLK|RCC_CLOCKTYPE_SYSCLK
                              |RCC_CLOCKTYPE_PCLK1|RCC_CLOCKTYPE_PCLK2;
  RCC_ClkInitStruct.SYSCLKSource = RCC_SYSCLKSOURCE_PLLCLK;
  RCC_ClkInitStruct.AHBCLKDivider = RCC_SYSCLK_DIV1;
  RCC_ClkInitStruct.APB1CLKDivider = RCC_HCLK_DIV1;
  RCC_ClkInitStruct.APB2CLKDivider = RCC_HCLK_DIV1;

  if (HAL_RCC_ClockConfig(&RCC_ClkInitStruct, FLASH_LATENCY_4) != HAL_OK)
  {
    Error_Handler();
  }
}

static void MX_I2C1_Init(void)
{

  hi2c1.Instance = I2C1;
  hi2c1.Init.Timing = 0x10D19CE4;
  hi2c1.Init.OwnAddress1 = 0;
  hi2c1.Init.AddressingMode = I2C_ADDRESSINGMODE_7BIT;
  hi2c1.Init.DualAddressMode = I2C_DUALADDRESS_DISABLE;
  hi2c1.Init.OwnAddress2 = 0;
  hi2c1.Init.OwnAddress2Masks = I2C_OA2_NOMASK;
  hi2c1.Init.GeneralCallMode = I2C_GENERALCALL_DISABLE;
  hi2c1.Init.NoStretchMode = I2C_NOSTRETCH_DISABLE;
  if (HAL_I2C_Init(&hi2c1) != HAL_OK)
  {
    Error_Handler();
  }

  /** Configure Analogue filter
  */
  if (HAL_I2CEx_ConfigAnalogFilter(&hi2c1, I2C_ANALOGFILTER_ENABLE) != HAL_OK)
  {
    Error_Handler();
  }

  /** Configure Digital filter
  */
  if (HAL_I2CEx_ConfigDigitalFilter(&hi2c1, 0) != HAL_OK)
  {
    Error_Handler();
  }

}

static void MX_LPTIM1_Init(void)
{

  hlptim1.Instance = LPTIM1;
  hlptim1.Init.Clock.Source = LPTIM_CLOCKSOURCE_APBCLOCK_LPOSC;
  hlptim1.Init.Clock.Prescaler = LPTIM_PRESCALER_DIV32;
  hlptim1.Init.Trigger.Source = LPTIM_TRIGSOURCE_SOFTWARE;
  hlptim1.Init.OutputPolarity = LPTIM_OUTPUTPOLARITY_HIGH;
  hlptim1.Init.UpdateMode = LPTIM_UPDATE_IMMEDIATE;
  hlptim1.Init.CounterSource = LPTIM_COUNTERSOURCE_INTERNAL;
  hlptim1.Init.Input1Source = LPTIM_INPUT1SOURCE_GPIO;
  hlptim1.Init.Input2Source = LPTIM_INPUT2SOURCE_GPIO;
  if (HAL_LPTIM_Init(&hlptim1) != HAL_OK)
  {
    Error_Handler();
  }

}

static void MX_LPUART1_UART_Init(void)
{

  hlpuart1.Instance = LPUART1;
  hlpuart1.Init.BaudRate = 9600;
  hlpuart1.Init.WordLength = UART_WORDLENGTH_8B;
  hlpuart1.Init.StopBits = UART_STOPBITS_1;
  hlpuart1.Init.Parity = UART_PARITY_NONE;
  hlpuart1.Init.Mode = UART_MODE_TX_RX;
  hlpuart1.Init.HwFlowCtl = UART_HWCONTROL_NONE;
  hlpuart1.Init.OneBitSampling = UART_ONE_BIT_SAMPLE_DISABLE;
  hlpuart1.AdvancedInit.AdvFeatureInit = UART_ADVFEATURE_NO_INIT;
  if (HAL_UART_Init(&hlpuart1) != HAL_OK)
  {
    Error_Handler();
  }

}

static void MX_USART1_UART_Init(void)
{

  huart1.Instance = USART1;
  huart1.Init.BaudRate = 9600;
  huart1.Init.WordLength = UART_WORDLENGTH_8B;
  huart1.Init.StopBits = UART_STOPBITS_1;
  huart1.Init.Parity = UART_PARITY_NONE;
  huart1.Init.Mode = UART_MODE_TX_RX;
  huart1.Init.HwFlowCtl = UART_HWCONTROL_NONE;
  huart1.Init.OverSampling = UART_OVERSAMPLING_16;
  huart1.Init.OneBitSampling = UART_ONE_BIT_SAMPLE_DISABLE;
  huart1.AdvancedInit.AdvFeatureInit = UART_ADVFEATURE_NO_INIT;
  if (HAL_UART_Init(&huart1) != HAL_OK)
  {
    Error_Handler();
  }

}

static void MX_USART2_UART_Init(void)
{

  huart2.Instance = USART2;
  huart2.Init.BaudRate = 9600;
  huart2.Init.WordLength = UART_WORDLENGTH_8B;
  huart2.Init.StopBits = UART_STOPBITS_1;
  huart2.Init.Parity = UART_PARITY_NONE;
  huart2.Init.Mode = UART_MODE_TX_RX;
  huart2.Init.HwFlowCtl = UART_HWCONTROL_NONE;
  huart2.Init.OverSampling = UART_OVERSAMPLING_16;
  huart2.Init.OneBitSampling = UART_ONE_BIT_SAMPLE_DISABLE;
  huart2.AdvancedInit.AdvFeatureInit = UART_ADVFEATURE_NO_INIT;
  if (HAL_UART_Init(&huart2) != HAL_OK)
  {
    Error_Handler();
  }

}

static void MX_RTC_Init(void)
{

  /** Initialize RTC Only
  */
  hrtc.Instance = RTC;
  hrtc.Init.HourFormat = RTC_HOURFORMAT_24;
  hrtc.Init.AsynchPrediv = 127;
  hrtc.Init.SynchPrediv = 255;
  hrtc.Init.OutPut = RTC_OUTPUT_DISABLE;
  hrtc.Init.OutPutRemap = RTC_OUTPUT_REMAP_NONE;
  hrtc.Init.OutPutPolarity = RTC_OUTPUT_POLARITY_HIGH;
  hrtc.Init.OutPutType = RTC_OUTPUT_TYPE_OPENDRAIN;
  if (HAL_RTC_Init(&hrtc) != HAL_OK)
  {
    Error_Handler();
  }

}

static void MX_GPIO_Init(void)
{
  GPIO_InitTypeDef GPIO_InitStruct = {0};

  /* GPIO Ports Clock Enable */
  __HAL_RCC_GPIOC_CLK_ENABLE();
  __HAL_RCC_GPIOH_CLK_ENABLE();
  __HAL_RCC_GPIOA_CLK_ENABLE();
  __HAL_RCC_GPIOB_CLK_ENABLE();
  __HAL_RCC_GPIOD_CLK_ENABLE();

  /*Configure GPIO pin Output Level */
  HAL_GPIO_WritePin(GPIOA, LD2_Pin|GPIO_PIN_11, GPIO_PIN_RESET);

  /*Configure GPIO pin Output Level */
  HAL_GPIO_WritePin(GPIOC, GPIO_PIN_10, GPIO_PIN_SET);

  /*Configure GPIO pin : PC13 */
  GPIO_InitStruct.Pin = GPIO_PIN_13;
  GPIO_InitStruct.Mode = GPIO_MODE_IT_RISING;
  GPIO_InitStruct.Pull = GPIO_NOPULL;
  HAL_GPIO_Init(GPIOC, &GPIO_InitStruct);

  /*Configure GPIO pins : PC2 PC3 PC4 PC5
                           PC6 PC7 PC8 PC9
                           PC11 PC12 */
  GPIO_InitStruct.Pin = GPIO_PIN_2|GPIO_PIN_3|GPIO_PIN_4|GPIO_PIN_5
                          |GPIO_PIN_6|GPIO_PIN_7|GPIO_PIN_8|GPIO_PIN_9
                          |GPIO_PIN_11|GPIO_PIN_12;
  GPIO_InitStruct.Mode = GPIO_MODE_ANALOG;
  GPIO_InitStruct.Pull = GPIO_NOPULL;
  HAL_GPIO_Init(GPIOC, &GPIO_InitStruct);

  /*Configure GPIO pins : PA0 PA1 PA4 PA6
                           PA7 PA8 PA12 PA15 */
  GPIO_InitStruct.Pin = GPIO_PIN_0|GPIO_PIN_1|GPIO_PIN_4|GPIO_PIN_6
                          |GPIO_PIN_7|GPIO_PIN_8|GPIO_PIN_12|GPIO_PIN_15;
  GPIO_InitStruct.Mode = GPIO_MODE_ANALOG;
  GPIO_InitStruct.Pull = GPIO_NOPULL;
  HAL_GPIO_Init(GPIOA, &GPIO_InitStruct);

  /*Configure GPIO pin : LD2_Pin */
  GPIO_InitStruct.Pin = LD2_Pin;
  GPIO_InitStruct.Mode = GPIO_MODE_OUTPUT_PP;
  GPIO_InitStruct.Pull = GPIO_NOPULL;
  GPIO_InitStruct.Speed = GPIO_SPEED_FREQ_LOW;
  HAL_GPIO_Init(LD2_GPIO_Port, &GPIO_InitStruct);

  /*Configure GPIO pins : PB0 PB1 PB2 PB10
                           PB11 PB12 PB13 PB14
                           PB15 PB4 PB5 PB6
                           PB7 */
  GPIO_InitStruct.Pin = GPIO_PIN_0|GPIO_PIN_1|GPIO_PIN_2|GPIO_PIN_10
                          |GPIO_PIN_11|GPIO_PIN_12|GPIO_PIN_13|GPIO_PIN_14
                          |GPIO_PIN_15|GPIO_PIN_4|GPIO_PIN_5|GPIO_PIN_6
                          |GPIO_PIN_7;
  GPIO_InitStruct.Mode = GPIO_MODE_ANALOG;
  GPIO_InitStruct.Pull = GPIO_NOPULL;
  HAL_GPIO_Init(GPIOB, &GPIO_InitStruct);

  /*Configure GPIO pin : PA11 */
  GPIO_InitStruct.Pin = GPIO_PIN_11;
  GPIO_InitStruct.Mode = GPIO_MODE_OUTPUT_PP;
  GPIO_InitStruct.Pull = GPIO_PULLDOWN;
  GPIO_InitStruct.Speed = GPIO_SPEED_FREQ_LOW;
  HAL_GPIO_Init(GPIOA, &GPIO_InitStruct);

  /*Configure GPIO pin : PC10 */
  GPIO_InitStruct.Pin = GPIO_PIN_10;
  GPIO_InitStruct.Mode = GPIO_MODE_OUTPUT_PP;
  GPIO_InitStruct.Pull = GPIO_NOPULL;
  GPIO_InitStruct.Speed = GPIO_SPEED_FREQ_LOW;
  HAL_GPIO_Init(GPIOC, &GPIO_InitStruct);

  /*Configure GPIO pin : PD2 */
  GPIO_InitStruct.Pin = GPIO_PIN_2;
  GPIO_InitStruct.Mode = GPIO_MODE_ANALOG;
  GPIO_InitStruct.Pull = GPIO_NOPULL;
  HAL_GPIO_Init(GPIOD, &GPIO_InitStruct);

}

void Error_Handler(void)
{
  __disable_irq();
  while (1)
  {
  }
}
